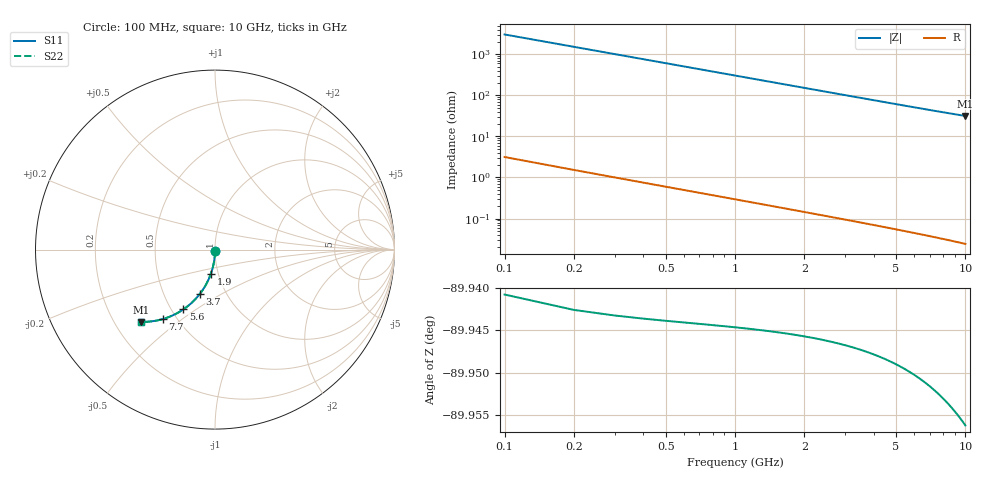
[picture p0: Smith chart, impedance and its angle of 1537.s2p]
# Hz S RI R 50.00
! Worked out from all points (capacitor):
!   100 points, 100 MHz to 10 GHz, reference 50 ohm
!   read as one part in shunt: C = 522 fF near 100 MHz
!   lowest |Z| = 31.6 ohm at 10 GHz (marker M1)
!   S11 on the Smith chart (normalised r, x): 100 MHz: 1.00, -0.01; 1.9 GHz: 0.92, -0.25; 3.7 GHz: 0.75, -0.40; 5.6 GHz: 0.57, -0.45; 7.7 GHz: 0.42, -0.43; 10 GHz: 0.31, -0.37
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1e8  0.000173 -0.00733  0.9997 -0.00908  0.9997 -0.00908  0.000173 -0.00733
2e8  -3.26e-05 -0.0146  0.9995 -0.0182  0.9995 -0.0182  -3.26e-05 -0.0146
3e8  -0.000372 -0.022  0.9991 -0.0272  0.9991 -0.0272  -0.000372 -0.022
4e8  -0.000844 -0.0293  0.9986 -0.0363  0.9986 -0.0363  -0.000844 -0.0293
5e8  -0.00145 -0.0366  0.998 -0.0453  0.998 -0.0453  -0.00145 -0.0366
6e8  -0.00219 -0.0438  0.9973 -0.0544  0.9973 -0.0544  -0.00219 -0.0438
8e8  -0.00405 -0.0584  0.9953 -0.0724  0.9953 -0.0724  -0.00405 -0.0584
1.1e9  -0.00783 -0.0799  0.9915 -0.0992  0.9915 -0.0992  -0.00783 -0.0799
1.4e9  -0.0128 -0.1012  0.9864 -0.1258  0.9864 -0.1258  -0.0128 -0.1012
1.8e9  -0.0211 -0.129  0.9779 -0.1606  0.9779 -0.1606  -0.0211 -0.129
1.9e9  -0.0234 -0.1358  0.9755 -0.1692  0.9755 -0.1692  -0.0234 -0.1358
2.2e9  -0.0313 -0.1559  0.9675 -0.1946  0.9675 -0.1946  -0.0313 -0.1559
2.6e9  -0.0433 -0.1819  0.9551 -0.2276  0.9551 -0.2276  -0.0433 -0.1819
3.4e9  -0.0721 -0.2302  0.9255 -0.2901  0.9255 -0.2901  -0.0721 -0.2302
3.7e9  -0.0845 -0.2469  0.9129 -0.3122  0.9129 -0.3122  -0.0845 -0.2469
4.4e9  -0.1159 -0.2828  0.8806 -0.3606  0.8806 -0.3606  -0.1159 -0.2828
5.1e9  -0.1503 -0.3139  0.8451 -0.4043  0.8451 -0.4043  -0.1503 -0.3139
5.6e9  -0.1762 -0.3331  0.8183 -0.4326  0.8183 -0.4326  -0.1762 -0.3331
6.7e9  -0.2358 -0.3666  0.7565 -0.4861  0.7565 -0.4861  -0.2358 -0.3666
7.7e9  -0.291 -0.387  0.6989 -0.525  0.6989 -0.525  -0.291 -0.387
8.4e9  -0.3293 -0.396  0.6587 -0.5471  0.6587 -0.5471  -0.3293 -0.396
1e10  -0.413 -0.4026  0.5697 -0.584  0.5697 -0.584  -0.413 -0.4026
